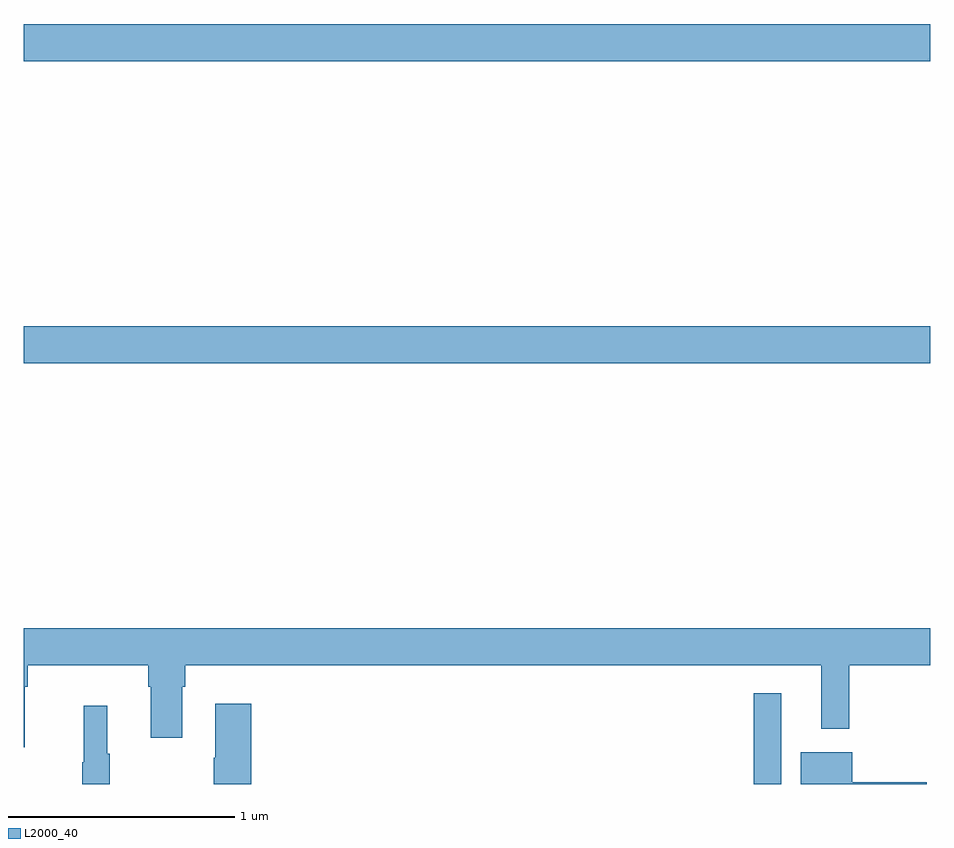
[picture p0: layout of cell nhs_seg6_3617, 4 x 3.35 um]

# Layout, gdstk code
import gdstk
lib = gdstk.Library(unit=1e-6, precision=1e-09)
def R(c, l, rs):  # rectangles x0, y0, x1, y1
    for r in rs: c.add(gdstk.rectangle(r[:2], r[2:], *l))
def P(c, l, *ps):  # polygons
    for p in ps: c.add(gdstk.Polygon(p, *l))
L2000_40 = (2000, 40)

nhs_seg6_3617 = lib.new_cell('nhs_seg6_3617')
R(nhs_seg6_3617, L2000_40, [(326.22,925.5,326.341,925.9), (323,927.356,327,927.52), (323,928.688,327,928.852)])
P(nhs_seg6_3617, L2000_40, [(323.005,925.928),(323.018,925.928),(323.018,926.024),(323.549,926.024),(323.549,925.928),(323.561,925.928),(323.561,925.704),(323.701,925.704),(323.701,925.928),(323.714,925.928),(323.714,926.024),(326.519,926.024),(326.519,925.743),(326.641,925.743),(326.641,926.024),(327,926.024),(327,926.188),(323,926.188),(323,925.662),(323.005,925.662)],
  [(324.005,925.855),(323.846,925.855),(323.846,925.616),(323.839,925.616),(323.839,925.5),(324.005,925.5)],
  [(323.38,925.633),(323.369,925.633),(323.369,925.846),(323.266,925.846),(323.266,925.596),(323.259,925.596),(323.259,925.5),(323.38,925.5)],
  [(326.984,925.508),(326.656,925.508),(326.656,925.639),(326.429,925.639),(326.429,925.5),(326.984,925.5)])

lib.write_gds('nhs_seg6_3617.gds')
